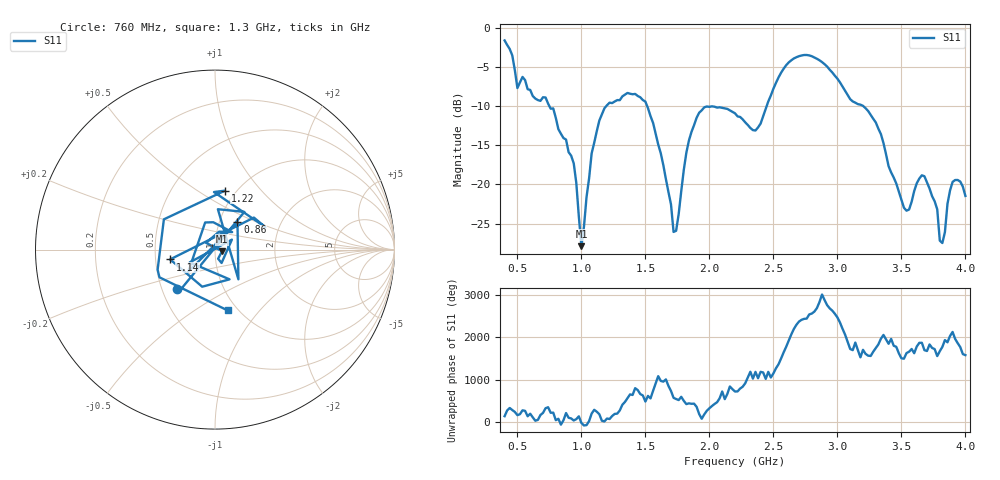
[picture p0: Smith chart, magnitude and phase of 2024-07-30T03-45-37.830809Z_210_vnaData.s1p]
!Created with skrf (http://scikit-rf.org).
# Hz S RI R 50.0
!freq ReS11 ImS11
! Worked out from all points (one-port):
!   181 points, 400 MHz to 4 GHz, reference 50 ohm
!   lowest |S11| = -27.9 dB at 1 GHz (marker M1), VSWR 1.08, Z = 54.1 - j0.912 ohm
!   |S11| at or under -10 dB: 750 MHz to 1.194 GHz (443.6 MHz wide, 45.6 % of centre); 1.514 GHz to 2.447 GHz (933.2 MHz wide, 47.1 % of centre); 3.203 GHz to end of sweep
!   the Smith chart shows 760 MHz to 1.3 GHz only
!   S11 on the Smith chart (normalised r, x): 760 MHz: 0.60, -0.29; 860 MHz: 1.22, +0.39; 1.14 GHz: 0.60, -0.07; 1.22 GHz: 0.89, +0.66; 1.3 GHz: 0.90, -0.69
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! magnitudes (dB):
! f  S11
! 400 MHz  -1.6
! 500 MHz  -7.7
! 760 MHz  -10.3
! 860 MHz  -14.1
! 940 MHz  -17.3
! 1 GHz  -27.9
! 1.08 GHz  -16.0
! 1.14 GHz  -11.8
! 1.22 GHz  -9.6
! 1.3 GHz  -9.2
! 1.5 GHz  -9.4
! 1.62 GHz  -16.0
! 1.72 GHz  -26.1
! 1.76 GHz  -23.8
! 1.82 GHz  -15.9
! 1.92 GHz  -10.8
! 2.2 GHz  -10.9
! 2.36 GHz  -13.1
! 2.66 GHz  -3.9
! 2.88 GHz  -4.4
! 3.1 GHz  -9.1
! 3.3 GHz  -12.1
! 3.56 GHz  -23.2
! 3.68 GHz  -19.0
! 3.78 GHz  -23.2
! 3.82 GHz  -27.5
! 3.9 GHz  -19.7
! 4 GHz  -21.5
